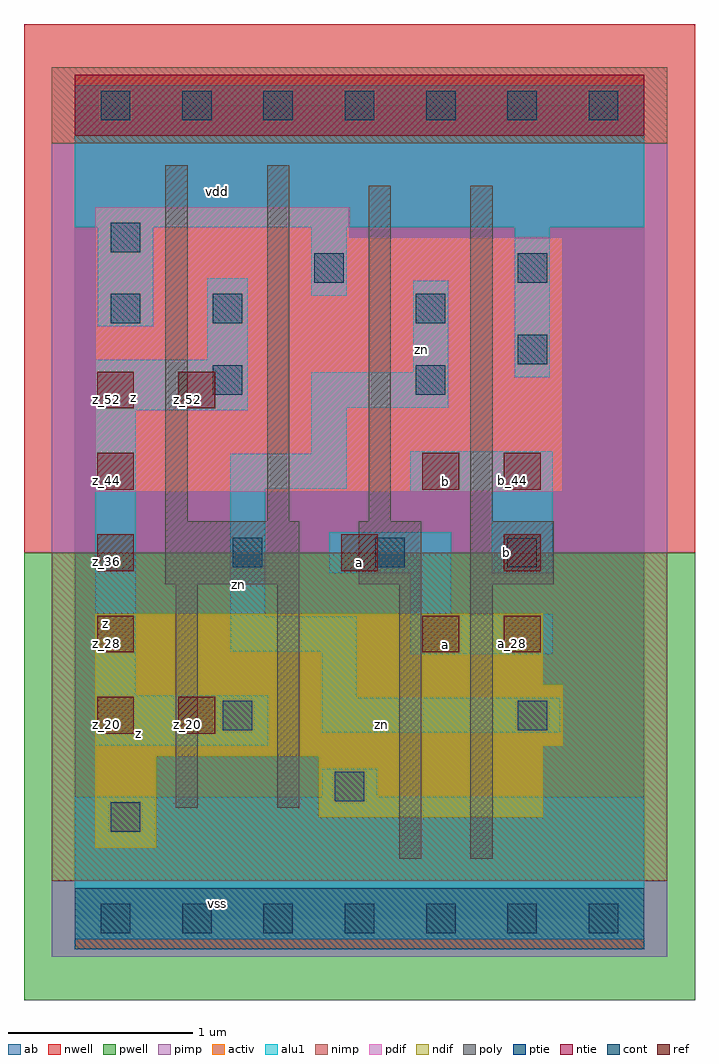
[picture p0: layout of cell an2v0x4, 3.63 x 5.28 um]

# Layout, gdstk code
import gdstk
lib = gdstk.Library(unit=1e-6, precision=2.5e-09)
def R(c, l, rs):  # rectangles x0, y0, x1, y1
    for r in rs: c.add(gdstk.rectangle(r[:2], r[2:], *l))
def A(c, l, x, y, w, h, nx, ny, dx, dy):  # array of equal rectangles
    R(c, l, [(x+i*dx, y+j*dy, x+i*dx+w, y+j*dy+h) for i in range(nx) for j in range(ny)])
ndif = (3, 0)
pdif = (4, 0)
ntie = (5, 0)
ptie = (6, 0)
ref = (24, 0)
cont = (25, 0)
pwell = (41, 0)
nwell = (42, 0)
activ = (43, 0)
pimp = (44, 0)
nimp = (45, 0)
poly = (46, 0)
alu1 = (49, 0)
ab = (63, 0)

an2v0x4 = lib.new_cell('an2v0x4')
R(an2v0x4, ndif, [(0.11,0.385,0.44,0.88), (1.32,0.55,2.53,0.88), (0.11,0.88,2.53,0.935), (0.11,0.935,2.64,1.265), (0.11,1.265,2.53,1.65)])
R(an2v0x4, pdif, [(0.11,2.31,2.64,3.685), (0.11,3.685,1.485,3.85)])
R(an2v0x4, ntie, [(0,4.235,3.08,4.565)])
R(an2v0x4, ptie, [(0,-0.165,3.08,0.165)])
A(an2v0x4, ref, 0.12, 1, 0.2, 0.2, 1, 5, 0, 0.44)
A(an2v0x4, ref, 2.32, 1.44, 0.2, 0.2, 1, 3, 0, 0.44)
R(an2v0x4, ref, [(0.56,1,0.76,1.2), (1.88,1.44,2.08,1.64), (1.44,1.88,1.64,2.08), (1.88,2.32,2.08,2.52), (0.56,2.76,0.76,2.96)])
A(an2v0x4, cont, 0.14, -0.08, 0.16, 0.16, 7, 2, 0.44, 4.4)
R(an2v0x4, cont, [(0.195,0.47,0.355,0.63), (1.405,0.635,1.565,0.795), (0.8,1.02,0.96,1.18), (2.395,1.02,2.555,1.18), (0.855,1.9,1.015,2.06), (1.625,1.9,1.785,2.06), (2.34,1.9,2.5,2.06), (0.745,2.835,0.905,2.995), (1.845,2.835,2.005,2.995), (2.395,3,2.555,3.16), (0.195,3.22,0.355,3.38), (0.745,3.22,0.905,3.38), (1.845,3.22,2.005,3.38), (1.295,3.44,1.455,3.6), (2.395,3.44,2.555,3.6), (0.195,3.605,0.355,3.765)])
R(an2v0x4, pwell, [(-0.275,-0.44,3.355,1.98)])
R(an2v0x4, nwell, [(-0.275,1.98,3.355,4.84)])
R(an2v0x4, activ, [(0,-0.165,3.08,0.165), (0.11,0.385,0.44,0.88), (1.32,0.55,2.53,0.88), (0.11,0.88,2.53,0.935), (0.11,0.935,2.64,1.265), (0.11,1.265,2.53,1.65), (0.11,2.31,2.64,3.685), (0.11,3.685,1.485,3.85), (0,4.235,3.08,4.565)])
R(an2v0x4, pimp, [(-0.125,-0.205,3.205,0.205), (-0.125,1.98,3.205,4.195)])
R(an2v0x4, nimp, [(-0.125,0.205,3.205,1.98), (-0.125,4.195,3.205,4.605)])
R(an2v0x4, poly, [(1.755,0.325,1.875,1.81), (2.14,0.325,2.26,1.81), (0.545,0.6,0.665,1.81), (1.095,0.6,1.215,1.81), (0.49,1.81,1.215,2.15), (1.535,1.81,1.875,2.15), (2.14,1.81,2.59,2.15), (0.49,2.15,0.61,4.075), (1.04,2.15,1.16,4.075), (1.59,2.15,1.71,3.965), (2.14,2.15,2.26,3.965)])
R(an2v0x4, alu1, [(0,-0.11,3.08,0.66), (1.335,0.66,1.635,0.81), (0.11,0.935,1.045,1.21), (1.335,1.005,2.625,1.195), (1.335,1.195,1.525,1.445), (0.11,1.21,0.33,2.75), (1.815,1.43,2.585,1.65), (0.84,1.445,1.525,1.635), (0.84,1.635,1.03,2.325), (1.815,1.65,2.035,1.87), (1.375,1.87,2.035,2.09), (2.255,1.87,2.585,2.31), (1.815,2.31,2.585,2.53), (0.84,2.325,1.47,2.515), (1.28,2.515,1.47,2.765), (0.11,2.75,0.935,3.025), (1.28,2.765,2.02,2.955), (2.38,2.93,2.57,3.74), (1.83,2.955,2.02,3.45), (0.715,3.025,0.935,3.465), (0.125,3.205,0.425,3.74), (1.28,3.37,1.47,3.74), (0,3.74,3.08,4.51)])
R(an2v0x4, ab, [(0,0,3.08,4.4)])
an2v0x4.add(gdstk.Label('vss', (0.77,0.0825), layer=49, texttype=0))
an2v0x4.add(gdstk.Label('zn', (1.6575,1.0525), layer=49, texttype=0))
an2v0x4.add(gdstk.Label('a', (2.0075,1.485), layer=49, texttype=0))
an2v0x4.add(gdstk.Label('z', (0.3425,1.0025), layer=49, texttype=0))
an2v0x4.add(gdstk.Label('b', (2.3375,1.98), layer=49, texttype=0))
an2v0x4.add(gdstk.Label('a', (1.54,1.925), layer=49, texttype=0))
an2v0x4.add(gdstk.Label('b', (2.0075,2.365), layer=49, texttype=0))
an2v0x4.add(gdstk.Label('zn', (0.8875,1.8075), layer=49, texttype=0))
an2v0x4.add(gdstk.Label('z', (0.165,1.595), layer=49, texttype=0))
an2v0x4.add(gdstk.Label('zn', (1.8775,3.0775), layer=49, texttype=0))
an2v0x4.add(gdstk.Label('z', (0.315,2.8175), layer=49, texttype=0))
an2v0x4.add(gdstk.Label('vdd', (0.77,3.9325), layer=49, texttype=0))
an2v0x4.add(gdstk.Label('z_20', (0.61,1.05), layer=24, texttype=0))
an2v0x4.add(gdstk.Label('z_52', (0.61,2.81), layer=24, texttype=0))
an2v0x4.add(gdstk.Label('a_36', (1.49,1.93), layer=24, texttype=0))
an2v0x4.add(gdstk.Label('a_28', (1.93,1.49), layer=24, texttype=0))
an2v0x4.add(gdstk.Label('b_44', (1.93,2.37), layer=24, texttype=0))
an2v0x4.add(gdstk.Label('z_20', (0.17,1.05), layer=24, texttype=0))
an2v0x4.add(gdstk.Label('z_28', (0.17,1.49), layer=24, texttype=0))
an2v0x4.add(gdstk.Label('z_36', (0.17,1.93), layer=24, texttype=0))
an2v0x4.add(gdstk.Label('z_44', (0.17,2.37), layer=24, texttype=0))
an2v0x4.add(gdstk.Label('z_52', (0.17,2.81), layer=24, texttype=0))
an2v0x4.add(gdstk.Label('a_28', (2.37,1.49), layer=24, texttype=0))
an2v0x4.add(gdstk.Label('b_36', (2.37,1.93), layer=24, texttype=0))
an2v0x4.add(gdstk.Label('b_44', (2.37,2.37), layer=24, texttype=0))

lib.write_gds('an2v0x4.gds')
